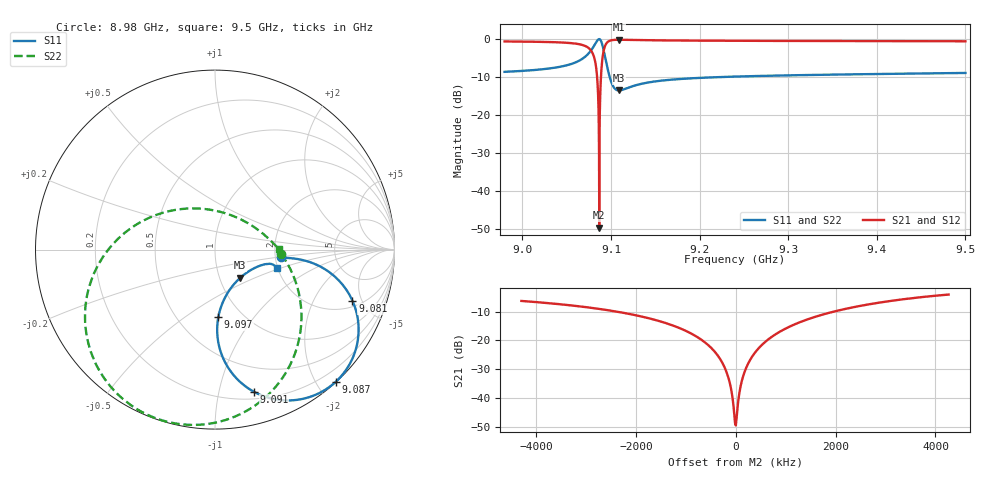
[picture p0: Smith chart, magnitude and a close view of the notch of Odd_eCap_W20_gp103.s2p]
! Sonnet Data File
! From: emgraph Version : 16.52
! From Project: Resonator2_extremeCap2
! Data is De-embedded
! Data File Written: 10/10/2017 17:29:14
!< HDATE 10/10/2017 13:14:23
!< MDATE 10/10/2017 13:14:23
!< PARAMS
!< Pwid1 = 2000.0
!< Pwid2 = 2000.0
!< Air_gap = 12.0
!< Width = 20.0
!< Gap = 103.0
!< END PARAMS
# GHZ S MA R 40.14000
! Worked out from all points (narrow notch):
!   1635 points, 8.98 GHz to 9.5 GHz, reference 40.14 ohm
!   highest |S21| = -0.20 dB at 9.109 GHz (marker M1); lowest = -49.5 dB at 9.087 GHz (marker M2)
!   notch at M2: 49.0 dB deep, 719 kHz wide at half that depth
!   lowest |S11| = -13.5 dB at 9.109 GHz (marker M3), VSWR 1.53, Z = 50.3 - j16.5 ohm
!   |S11| at or under -10 dB: 9.099 GHz to 9.223 GHz (124.1 MHz wide, 1.35 % of centre)
!   |S22| runs from -13.5 to 0.0 dB; largest |S21 - S12| = 0
!   S11 on the Smith chart (normalised r, x): 8.98 GHz: 2.15, -0.22; 9.081 GHz: 2.44, -4.19; 9.087 GHz: 0.01, -2.27; 9.091 GHz: 0.26, -1.28; 9.097 GHz: 0.77, -0.68; 9.5 GHz: 1.97, -0.46
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8.98  0.3706 -6.7  0.9288 -95.4  0.9288 -95.4  0.3706 -4.0
!< P1 F=8.98 Eeff=(5.24939097 -2.3069e-5) Z0=(40.1264257 8.94314e-5) R=0.0 C=0.0
!< P2 F=8.98 Eeff=(5.24939097 -2.3069e-5) Z0=(40.1264257 8.94314e-5) R=0.0 C=0.0
9.0395  0.4252 -6.4  0.905 -99.8  0.905 -99.8  0.4252 -13.2
9.067  0.5426 -7.7  0.8398 -108.6  0.8398 -108.6  0.5424 -29.5
9.081041  0.8172 -20.4  0.5745 -131.8  0.5745 -131.8  0.8165 -63.5
9.083498  0.9128 -28.8  0.4043 -143.2  0.4043 -143.2  0.9118 -78.2
9.085461  0.9798 -39.0  0.1886 -156.0  0.1886 -156.0  0.9785 -94.7
9.086371  0.9956 -45.0  0.06082 -161.4  0.06082 -161.4  0.9943 -103.8
9.086485  0.9965 -45.8  0.04368 -161.2  0.04368 -161.2  0.9951 -105.1
9.086727  0.9973 -47.5  0.007254 -141.0  0.007254 -141.0  0.996 -107.7
9.086773  0.9974 -47.8  0.003333 -66.0  0.003333 -66.0  0.996 -108.2
9.087117  0.9958 -50.3  0.05496 5.3  0.05496 5.3  0.9943 -112.0
9.087689  0.9862 -54.6  0.1476 2.0  0.1476 2.0  0.9847 -118.7
9.089  0.9306 -64.6  0.3583 -10.1  0.3583 -10.1  0.929 -134.4
9.0905  0.8208 -74.7  0.5667 -23.8  0.5667 -23.8  0.8192 -152.1
9.093017  0.6091 -85.6  0.7909 -42.3  0.7909 -42.3  0.6076 -178.4
9.096877  0.3779 -87.2  0.9249 -59.4  0.9249 -59.4  0.3766 148.8
9.109  0.211 -48.0  0.9773 -78.2  0.9773 -78.2  0.2104 71.7
9.153384  0.2808 -17.4  0.9597 -89.4  0.9597 -89.4  0.2807 18.6
9.24  0.321 -14.4  0.9471 -93.4  0.9471 -93.4  0.321 7.6
9.327  0.3373 -14.7  0.9414 -95.3  0.9414 -95.3  0.3373 4.0
9.4135  0.3486 -15.5  0.9373 -96.8  0.9373 -96.8  0.3486 1.8
9.5  0.3581 -16.5  0.9337 -98.2  0.9337 -98.2  0.3581 0.1
